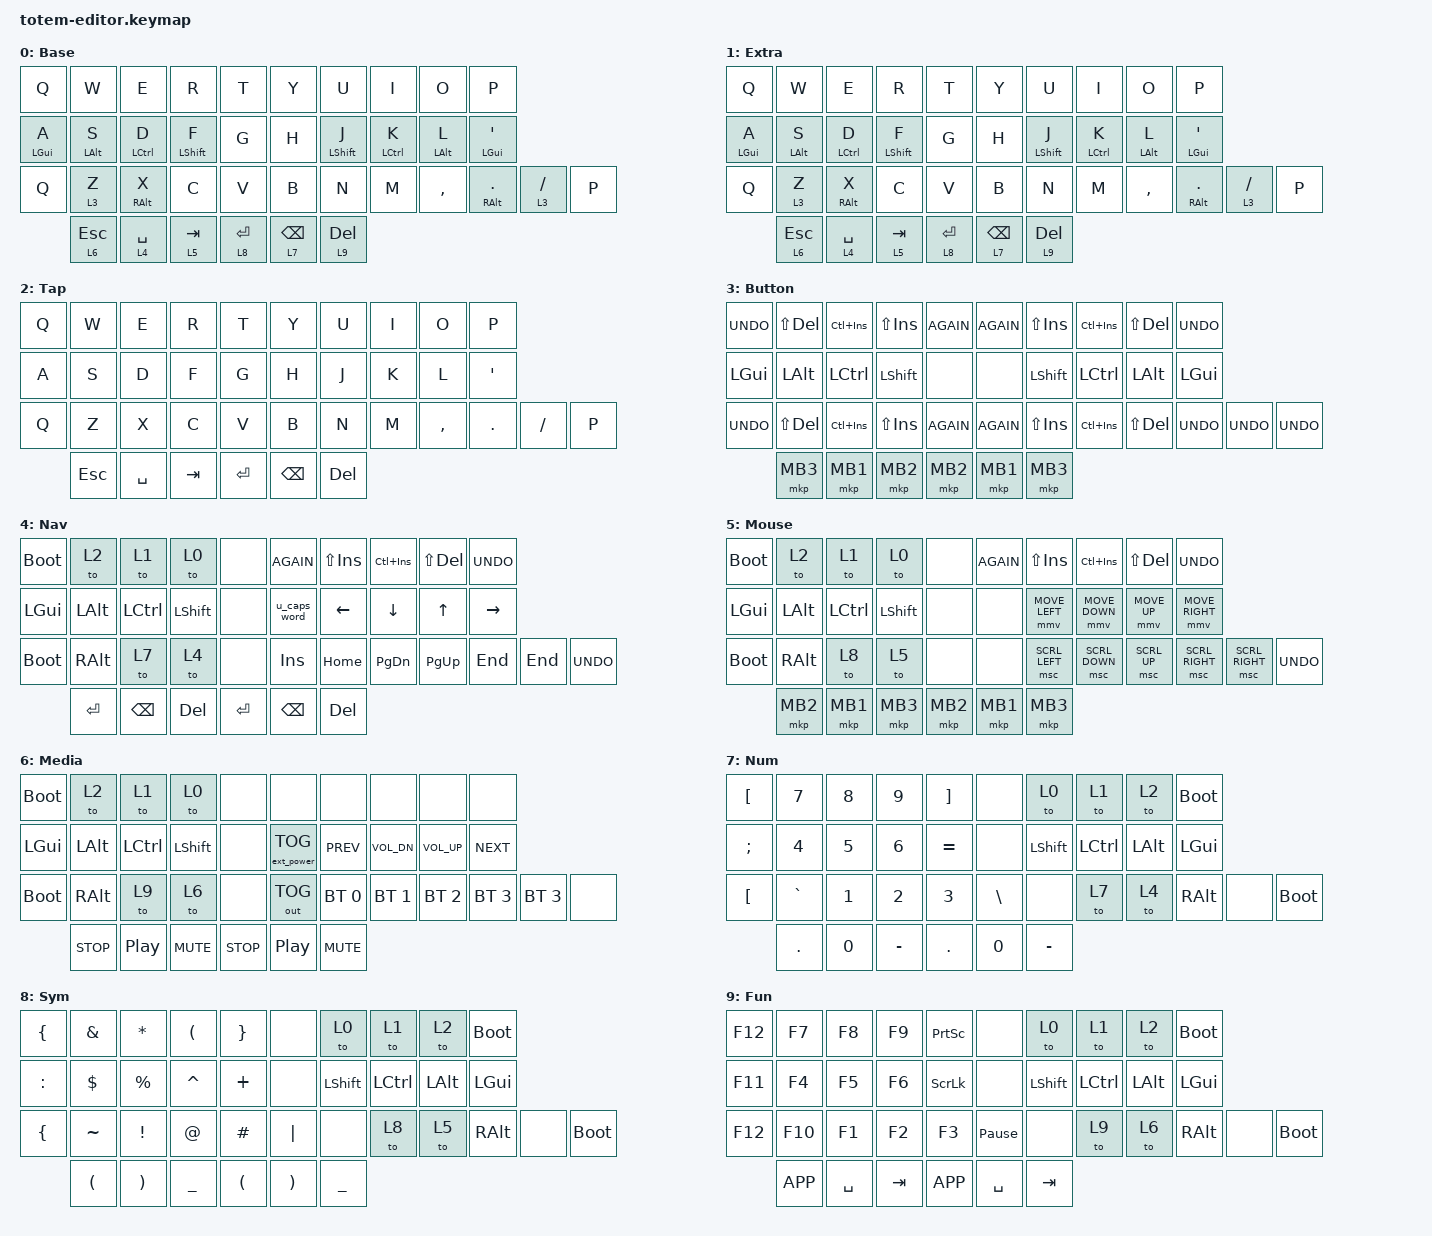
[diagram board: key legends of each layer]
#include <behaviors.dtsi>
#include <behaviors/mouse_keys.dtsi>
#include <dt-bindings/zmk/bt.h>
#include <dt-bindings/zmk/ext_power.h>
#include <dt-bindings/zmk/keys.h>
#include <dt-bindings/zmk/outputs.h>
#include <dt-bindings/zmk/pointing.h>

/ {
    behaviors {
        u_mt: u_mt {
            compatible = "zmk,behavior-hold-tap";
            #binding-cells = <2>;
            tapping-term-ms = <200>;
            flavor = "tap-preferred";
            bindings = <&kp>, <&kp>;
        };

        u_lt: u_lt {
            compatible = "zmk,behavior-hold-tap";
            #binding-cells = <2>;
            tapping-term-ms = <200>;
            flavor = "tap-preferred";
            bindings = <&mo>, <&kp>;
        };

        u_caps_word: u_caps_word {
            compatible = "zmk,behavior-mod-morph";
            #binding-cells = <0>;
            bindings = <&caps_word>, <&kp CAPS>;
            mods = <(MOD_LSFT|MOD_RSFT)>;
        };
    };

    keymap {
        compatible = "zmk,keymap";

        base_layer {
            display-name = "Base";
            bindings = <
                &kp Q            &kp W            &kp E            &kp R            &kp T            &kp Y            &kp U            &kp I            &kp O            &kp P
                &u_mt LGUI A     &u_mt LALT S     &u_mt LCTRL D    &u_mt LSHFT F    &kp G            &kp H            &u_mt LSHFT J    &u_mt LCTRL K    &u_mt LALT L     &u_mt LGUI SQT
                &kp Q            &u_lt 3 Z        &u_mt RALT X     &kp C            &kp V            &kp B            &kp N            &kp M            &kp COMMA        &u_mt RALT DOT   &u_lt 3 SLASH    &kp P
                                  &u_lt 6 ESC      &u_lt 4 SPACE    &u_lt 5 TAB      &u_lt 8 RET      &u_lt 7 BSPC     &u_lt 9 DEL
            >;
        };

        extra_layer {
            display-name = "Extra";
            bindings = <
                &kp Q            &kp W            &kp E            &kp R            &kp T            &kp Y            &kp U            &kp I            &kp O            &kp P
                &u_mt LGUI A     &u_mt LALT S     &u_mt LCTRL D    &u_mt LSHFT F    &kp G            &kp H            &u_mt LSHFT J    &u_mt LCTRL K    &u_mt LALT L     &u_mt LGUI SQT
                &kp Q            &u_lt 3 Z        &u_mt RALT X     &kp C            &kp V            &kp B            &kp N            &kp M            &kp COMMA        &u_mt RALT DOT   &u_lt 3 SLASH    &kp P
                                  &u_lt 6 ESC      &u_lt 4 SPACE    &u_lt 5 TAB      &u_lt 8 RET      &u_lt 7 BSPC     &u_lt 9 DEL
            >;
        };

        tap_layer {
            display-name = "Tap";
            bindings = <
                &kp Q            &kp W            &kp E            &kp R            &kp T            &kp Y            &kp U            &kp I            &kp O            &kp P
                &kp A            &kp S            &kp D            &kp F            &kp G            &kp H            &kp J            &kp K            &kp L            &kp SQT
                &kp Q            &kp Z            &kp X            &kp C            &kp V            &kp B            &kp N            &kp M            &kp COMMA        &kp DOT          &kp SLASH        &kp P
                                  &kp ESC          &kp SPACE        &kp TAB          &kp RET          &kp BSPC         &kp DEL
            >;
        };

        button_layer {
            display-name = "Button";
            bindings = <
                &kp K_UNDO       &kp LS(DEL)      &kp LC(INS)      &kp LS(INS)      &kp K_AGAIN      &kp K_AGAIN      &kp LS(INS)      &kp LC(INS)      &kp LS(DEL)      &kp K_UNDO
                &kp LGUI         &kp LALT         &kp LCTRL        &kp LSHFT        &none            &none            &kp LSHFT        &kp LCTRL        &kp LALT         &kp LGUI
                &kp K_UNDO       &kp LS(DEL)      &kp LC(INS)      &kp LS(INS)      &kp K_AGAIN      &kp K_AGAIN      &kp LS(INS)      &kp LC(INS)      &kp LS(DEL)      &kp K_UNDO       &kp K_UNDO       &kp K_UNDO
                                  &mkp MB3         &mkp MB1         &mkp MB2         &mkp MB2         &mkp MB1         &mkp MB3
            >;
        };

        nav_layer {
            display-name = "Nav";
            bindings = <
                &bootloader      &to 2            &to 1            &to 0            &none            &kp K_AGAIN      &kp LS(INS)      &kp LC(INS)      &kp LS(DEL)      &kp K_UNDO
                &kp LGUI         &kp LALT         &kp LCTRL        &kp LSHFT        &none            &u_caps_word     &kp LEFT         &kp DOWN         &kp UP           &kp RIGHT
                &bootloader      &kp RALT         &to 7            &to 4            &none            &kp INS          &kp HOME         &kp PG_DN        &kp PG_UP        &kp END          &kp END          &kp K_UNDO
                                  &kp RET          &kp BSPC         &kp DEL          &kp RET          &kp BSPC         &kp DEL
            >;
        };

        mouse_layer {
            display-name = "Mouse";
            bindings = <
                &bootloader      &to 2            &to 1            &to 0            &none            &kp K_AGAIN      &kp LS(INS)      &kp LC(INS)      &kp LS(DEL)      &kp K_UNDO
                &kp LGUI         &kp LALT         &kp LCTRL        &kp LSHFT        &none            &none            &mmv MOVE_LEFT   &mmv MOVE_DOWN   &mmv MOVE_UP     &mmv MOVE_RIGHT
                &bootloader      &kp RALT         &to 8            &to 5            &none            &none            &msc SCRL_LEFT   &msc SCRL_DOWN   &msc SCRL_UP     &msc SCRL_RIGHT  &msc SCRL_RIGHT  &kp K_UNDO
                                  &mkp MB2         &mkp MB1         &mkp MB3         &mkp MB2         &mkp MB1         &mkp MB3
            >;
        };

        media_layer {
            display-name = "Media";
            bindings = <
                &bootloader      &to 2            &to 1            &to 0            &none            &none            &none            &none            &none            &none
                &kp LGUI         &kp LALT         &kp LCTRL        &kp LSHFT        &none            &ext_power EP_TOG &kp C_PREV      &kp C_VOL_DN    &kp C_VOL_UP    &kp C_NEXT
                &bootloader      &kp RALT         &to 9            &to 6            &none            &out OUT_TOG     &bt BT_SEL 0     &bt BT_SEL 1     &bt BT_SEL 2     &bt BT_SEL 3     &bt BT_SEL 3     &none
                                  &kp C_STOP       &kp C_PP         &kp C_MUTE       &kp C_STOP       &kp C_PP         &kp C_MUTE
            >;
        };

        num_layer {
            display-name = "Num";
            bindings = <
                &kp LBKT         &kp N7           &kp N8           &kp N9           &kp RBKT         &none            &to 0            &to 1            &to 2            &bootloader
                &kp SEMI         &kp N4           &kp N5           &kp N6           &kp EQUAL        &none            &kp LSHFT        &kp LCTRL        &kp LALT         &kp LGUI
                &kp LBKT         &kp GRAVE        &kp N1           &kp N2           &kp N3           &kp BSLH         &none            &to 7            &to 4            &kp RALT         &none            &bootloader
                                  &kp DOT          &kp N0           &kp MINUS        &kp DOT          &kp N0           &kp MINUS
            >;
        };

        sym_layer {
            display-name = "Sym";
            bindings = <
                &kp LBRC         &kp AMPS         &kp ASTRK        &kp LPAR         &kp RBRC         &none            &to 0            &to 1            &to 2            &bootloader
                &kp COLON        &kp DLLR         &kp PRCNT        &kp CARET        &kp PLUS         &none            &kp LSHFT        &kp LCTRL        &kp LALT         &kp LGUI
                &kp LBRC         &kp TILDE        &kp EXCL         &kp AT           &kp HASH         &kp PIPE         &none            &to 8            &to 5            &kp RALT         &none            &bootloader
                                  &kp LPAR         &kp RPAR         &kp UNDER        &kp LPAR         &kp RPAR         &kp UNDER
            >;
        };

        fun_layer {
            display-name = "Fun";
            bindings = <
                &kp F12          &kp F7           &kp F8           &kp F9           &kp PSCRN        &none            &to 0            &to 1            &to 2            &bootloader
                &kp F11          &kp F4           &kp F5           &kp F6           &kp SLCK         &none            &kp LSHFT        &kp LCTRL        &kp LALT         &kp LGUI
                &kp F12          &kp F10          &kp F1           &kp F2           &kp F3           &kp PAUSE_BREAK  &none            &to 9            &to 6            &kp RALT         &none            &bootloader
                                  &kp K_APP        &kp SPACE        &kp TAB          &kp K_APP        &kp SPACE        &kp TAB
            >;
        };
    };
};
